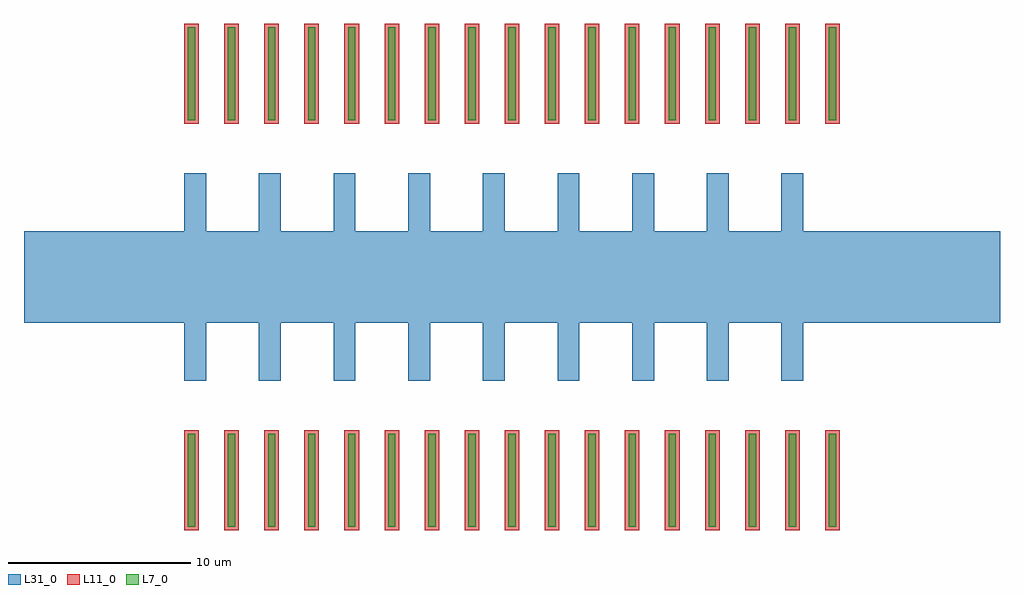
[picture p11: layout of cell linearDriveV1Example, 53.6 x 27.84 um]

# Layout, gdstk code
import gdstk
lib = gdstk.Library(unit=1e-6, precision=1e-09)
def R(c, l, rs):  # rectangles x0, y0, x1, y1
    for r in rs: c.add(gdstk.rectangle(r[:2], r[2:], *l))
def A(c, l, x, y, w, h, nx, ny, dx, dy):  # array of equal rectangles
    R(c, l, [(x+i*dx, y+j*dy, x+i*dx+w, y+j*dy+h) for i in range(nx) for j in range(ny)])
def P(c, l, *ps):  # polygons
    for p in ps: c.add(gdstk.Polygon(p, *l))
L7_0 = (7, 0)
L11_0 = (11, 0)
L31_0 = (31, 0)

lineardrivev1example = lib.new_cell('linearDriveV1Example')
A(lineardrivev1example, L7_0, -17.8, -13.72, 0.4, 5.1, 17, 2, 2.2, 22.34)
A(lineardrivev1example, L11_0, -18, -13.92, 0.8, 5.5, 17, 2, 2.2, 22.34)
P(lineardrivev1example, L31_0, [(-18,-5.7),(-18,-2.5),(-26.8,-2.5),(-26.8,2.5),(-18,2.5),(-18,5.7),(-16.8,5.7),(-16.8,2.5),(-13.9,2.5),(-13.9,5.7),(-12.7,5.7),(-12.7,2.5),(-9.8,2.5),(-9.8,5.7),(-8.6,5.7),(-8.6,2.5),(-5.7,2.5),(-5.7,5.7),(-4.5,5.7),(-4.5,2.5),(-1.6,2.5),(-1.6,5.7),(-0.4,5.7),(-0.4,2.5),(2.5,2.5),(2.5,5.7),(3.7,5.7),(3.7,2.5),(6.6,2.5),(6.6,5.7),(7.8,5.7),(7.8,2.5),(10.7,2.5),(10.7,5.7),(11.9,5.7),(11.9,2.5),(14.8,2.5),(14.8,5.7),(16,5.7),(16,2.5),(26.8,2.5),(26.8,-2.5),(16,-2.5),(16,-5.7),(14.8,-5.7),(14.8,-2.5),(11.9,-2.5),(11.9,-5.7),(10.7,-5.7),(10.7,-2.5),(7.8,-2.5),(7.8,-5.7),(6.6,-5.7),(6.6,-2.5),(3.7,-2.5),(3.7,-5.7),(2.5,-5.7),(2.5,-2.5),(-0.4,-2.5),(-0.4,-5.7),(-1.6,-5.7),(-1.6,-2.5),(-4.5,-2.5),(-4.5,-5.7),(-5.7,-5.7),(-5.7,-2.5),(-8.6,-2.5),(-8.6,-5.7),(-9.8,-5.7),(-9.8,-2.5),(-12.7,-2.5),(-12.7,-5.7),(-13.9,-5.7),(-13.9,-2.5),(-16.8,-2.5),(-16.8,-5.7)])

lib.write_gds('linearDriveV1Example.gds')
